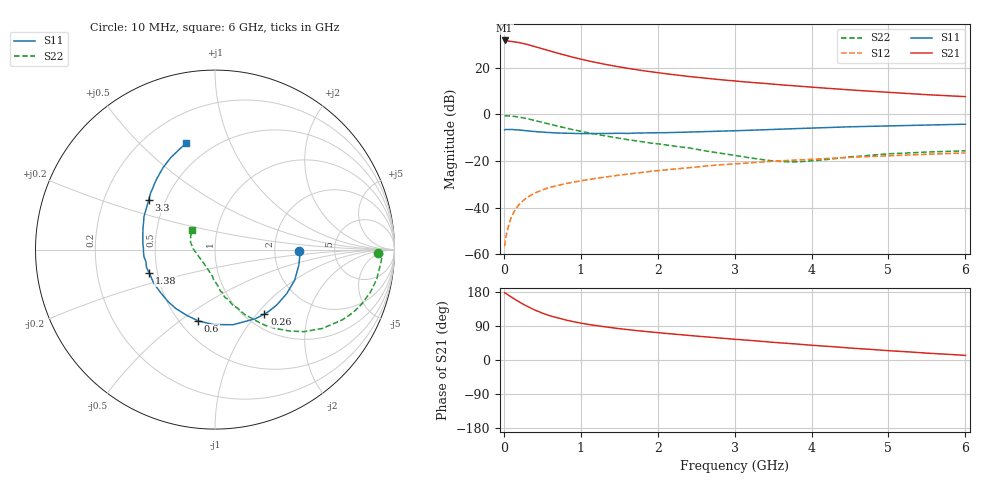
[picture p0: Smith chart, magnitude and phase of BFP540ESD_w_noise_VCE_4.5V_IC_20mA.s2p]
! Infineon Technologies  Discrete & RF Semiconductors
! BFP540ESD
! VCE =  4.5 V,  IC =  20 mA
! Common Emitter S-Parameters:  Nov 2015
# GHz  S  MA  R  50
!  f  S11  S21  S12  S22
! GHz  MAG  ANG  MAG  ANG  MAG  ANG  MAG  ANG
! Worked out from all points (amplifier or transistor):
!   210 points, 10 MHz to 6 GHz, reference 50 ohm
!   highest |S21| = 31.7 dB at 10 MHz (marker M1)
!   |S21| within 3 dB of that: start of sweep to 442.7 MHz
!   unconditionally stable (mu >= 1): start of sweep to 21.2 MHz; 2.147 GHz to end of sweep
!   at 185 MHz: K = 0.34, MSG = 35.0 dB, |S12| = -39.2 dB
!   at 1.52 GHz: K = 0.89, MSG = 23.1 dB, |S12| = -26.0 dB
!   at 6 GHz: K = 1.12, MAG = 10.0 dB, |S12| = -16.5 dB
!   lowest NFmin = 1.17 dB at 900 MHz
!   S11 on the Smith chart (normalised r, x): 10 MHz: 2.74, -0.05; 260 MHz: 1.21, -1.10; 600 MHz: 0.61, -0.58; 1.38 GHz: 0.45, -0.14; 3.3 GHz: 0.40, +0.28; 6 GHz: 0.37, +0.70
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0.01  0.4657 -0.9  38.24 177.4  0.0015 23.9  0.9103 -1.1
0.1  0.4756 -21.1  36.59 165.8  0.0064 72.1  0.9162 -10.3
0.15  0.4688 -31.5  35.68 159.3  0.0091 71.5  0.8977 -15.4
0.2  0.4623 -41.7  34.42 153.1  0.0118 68.1  0.8723 -20.3
0.26  0.4529 -52.6  32.69 146.2  0.0146 68.0  0.8366 -25.6
0.3  0.4455 -59.9  31.52 141.8  0.0164 67.8  0.8101 -28.9
0.4  0.4304 -76.4  28.37 132.0  0.0205 65.0  0.7421 -36.3
0.5  0.4177 -91.2  25.51 123.6  0.024 62.0  0.6741 -42.7
0.6  0.4079 -103.5  22.73 116.6  0.0274 60.7  0.6129 -47.7
0.7  0.3983 -113.9  20.47 110.8  0.0298 59.1  0.5591 -52.0
0.8  0.394 -124.1  18.41 105.6  0.0327 58.0  0.5106 -56.1
1.02  0.3865 -140.7  14.95 96.6  0.038 56.9  0.4267 -62.5
1.2  0.389 -151.8  12.85 90.7  0.0426 55.8  0.3746 -67.1
1.38  0.3896 -160.6  11.27 85.9  0.0469 55.4  0.3314 -71.4
1.7  0.3975 -174.2  9.175 78.1  0.0548 54.2  0.2733 -78.1
2.02  0.4032 175.3  7.723 71.7  0.0626 52.9  0.2318 -82.6
2.56  0.4238 160.2  6.074 62.1  0.0761 49.6  0.1713 -91.8
3.1  0.4498 147.4  5.016 53.3  0.089 45.9  0.1242 -105.5
3.3  0.462 143.0  4.709 50.2  0.0939 44.1  0.1106 -114.6
4.1  0.5145 128.4  3.718 37.6  0.1111 37.5  0.1041 -166.4
5.1  0.5724 114.6  2.893 23.4  0.1313 28.8  0.1449 160.1
6  0.6137 105.3  2.395 12.2  0.1489 22.3  0.1661 139.0
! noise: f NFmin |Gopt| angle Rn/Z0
0.9  1.17  0.28  -137  0.11
1.8  1.32  0.31  -144  0.11
2.4  1.35  0.32  -135  0.12
3  1.45  0.35  -130  0.13
4  1.53  0.47  -104  0.22
5  1.66  0.56  -87  0.31
6  1.97  0.55  -87  0.57
